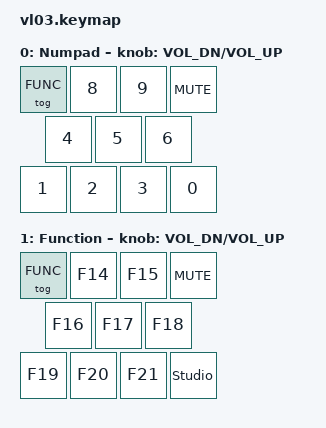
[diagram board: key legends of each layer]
#include <behaviors.dtsi>
#include <dt-bindings/zmk/keys.h>

#define NUMPAD 0
#define FUNC   1

/ {


    keymap {
        compatible = "zmk,keymap";

        // ------------------------------------------------------------------
        //  Layer 0 - Numpad
        //   7   8   9   (mute / encoder switch)
        //   4   5   6
        //   1   2   3   0
        //  Encoder rotate = volume down / up
        // ------------------------------------------------------------------
        numpad_layer {
            display-name = "Numpad";
            bindings = <
                &tog FUNC  &kp N8  &kp N9  &kp C_MUTE
                &kp N4  &kp N5  &kp N6
                &kp N1  &kp N2  &kp N3  &kp N0
            >;
            sensor-bindings = <&inc_dec_kp C_VOL_DN C_VOL_UP>;
        };

        // ------------------------------------------------------------------
        //  Layer 1 - Function (F13-F21)
        //   F13  F14  F15  (mute / encoder switch)
        //   F16  F17  F18
        //   F19  F20  F21  studio_unlock
        //  Encoder rotate = volume down / up
        //  Tap the "0" key here to unlock ZMK Studio for editing.
        // ------------------------------------------------------------------
        function_layer {
            display-name = "Function";
            bindings = <
                &tog FUNC  &kp F14  &kp F15  &kp C_MUTE
                &kp F16  &kp F17  &kp F18
                &kp F19  &kp F20  &kp F21  &studio_unlock
            >;
            sensor-bindings = <&inc_dec_kp C_VOL_DN C_VOL_UP>;
        };
    };
};
